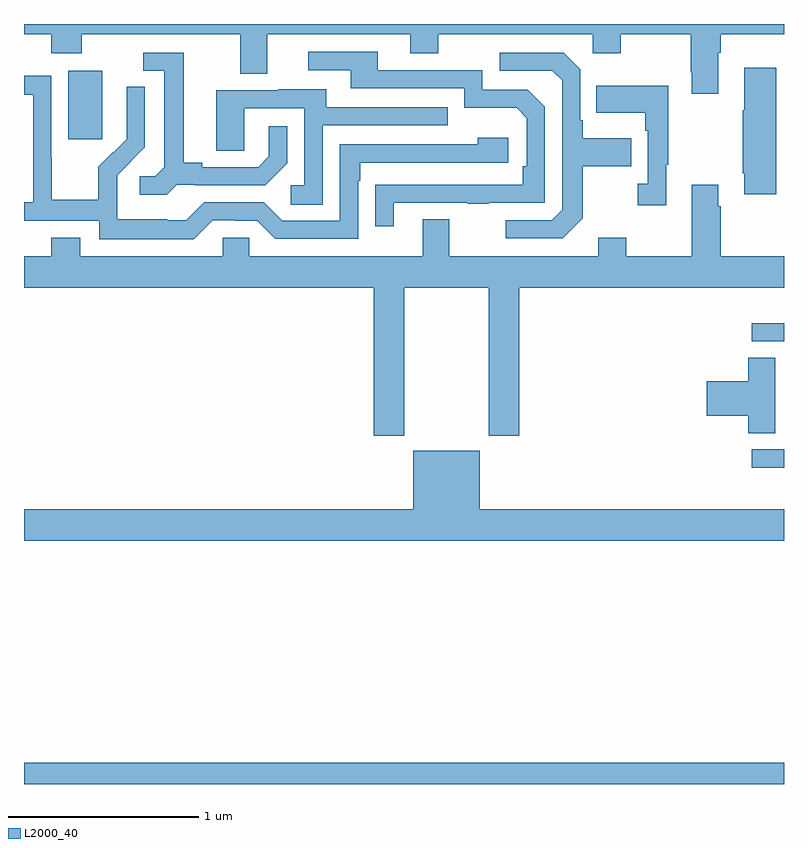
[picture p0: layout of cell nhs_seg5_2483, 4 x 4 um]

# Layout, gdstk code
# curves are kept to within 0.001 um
import gdstk
lib = gdstk.Library(unit=1e-6, precision=1e-09)
def R(c, l, rs):  # rectangles x0, y0, x1, y1
    for r in rs: c.add(gdstk.rectangle(r[:2], r[2:], *l))
def P(c, l, *ps):  # polygons
    for p in ps: c.add(gdstk.Polygon(p, *l))
L2000_40 = (2000, 40)

nhs_seg5_2483 = lib.new_cell('nhs_seg5_2483')
R(nhs_seg5_2483, L2000_40, [(255,868.799,259,868.912), (258.831,870.463,259,870.561), (258.831,871.128,259,871.224), (255.233,872.193,255.412,872.554)])
P(nhs_seg5_2483, L2000_40, [(258.655,872.648),(258.668,872.648),(258.668,872.744),(259,872.744),(259,872.799),(255,872.799),(255,872.744),(255.143,872.744),(255.143,872.645),(255.303,872.645),(255.303,872.744),(256.139,872.744),(256.139,872.536),(256.279,872.536),(256.279,872.744),(257.033,872.744),(257.033,872.645),(257.181,872.645),(257.181,872.744),(257.994,872.744),(257.994,872.645),(258.141,872.645),(258.141,872.744),(258.508,872.744),(258.508,872.545),(258.515,872.545),(258.515,872.433),(258.655,872.433)],
  [(256.945,871.857),(257.335,871.857),(257.335,871.852),(257.447,871.852),(257.447,871.857),(257.742,871.857),(257.742,872.364),(257.652,872.454),(257.412,872.454),(257.412,872.556),(256.861,872.556),(256.861,872.652),(256.497,872.652),(256.497,872.556),(256.721,872.556),(256.721,872.46),(257.316,872.46),(257.316,872.357),(257.593,872.357),(257.646,872.304),(257.646,872.05),(257.626,872.05),(257.626,871.953),(256.849,871.952),(256.849,871.734),(256.945,871.734)],
  [(255.804,871.953),(255.898,871.953),(255.898,871.95),(256.27,871.95),(256.386,872.066),(256.386,872.26),(256.289,872.26),(256.289,872.103),(256.232,872.046),(255.937,872.046),(255.937,872.069),(255.841,872.069),(255.841,872.649),(255.627,872.649),(255.627,872.553),(255.737,872.553),(255.737,872.045),(255.69,871.998),(255.609,871.998),(255.609,871.901),(255.752,871.901)],
  [(257.941,871.777),(257.941,872.05),(258.197,872.05),(258.197,872.197),(257.941,872.197),(257.941,872.293),(257.928,872.293),(257.928,872.562),(257.841,872.649),(257.505,872.649),(257.505,872.553),(257.781,872.553),(257.832,872.502),(257.832,871.821),(257.778,871.767),(257.535,871.767),(257.535,871.671),(257.835,871.671)],
  [(258.959,872.569),(258.791,872.569),(258.791,872.345),(258.784,872.345),(258.784,872.014),(258.791,872.014),(258.791,871.902),(258.959,871.902)],
  [(255.993,871.767),(256.109,871.767),(256.109,871.764),(256.227,871.764),(256.323,871.668),(256.758,871.668),(256.758,871.973),(256.771,871.973),(256.771,872.07),(257.548,872.07),(257.548,872.2),(257.387,872.2),(257.387,872.166),(256.662,872.166),(256.662,871.764),(256.359,871.764),(256.263,871.86),(255.948,871.86),(255.855,871.767),(255.755,871.767),(255.755,871.771),(255.492,871.771),(255.492,871.905),(255.49,871.905),(255.49,872.002),(255.636,872.15),(255.636,872.468),(255.54,872.468),(255.54,872.314),(255.542,872.314),(255.542,872.192),(255.471,872.121),(255.468,872.124),(255.391,872.047),(255.391,871.873),(255.147,871.873),(255.147,872.096),(255.144,872.096),(255.144,872.526),(255,872.526),(255,872.427),(255.048,872.427),(255.048,871.86),(255,871.86),(255,871.764),(255.396,871.764),(255.396,871.667),(255.893,871.667)],
  [(258.379,872.057),(258.391,872.057),(258.391,872.473),(258.013,872.473),(258.013,872.333),(258.27,872.333),(258.27,872.237),(258.282,872.237),(258.282,871.958),(258.231,871.958),(258.231,871.845),(258.379,871.845)],
  [(256.572,872.265),(257.231,872.265),(257.231,872.361),(256.591,872.361),(256.591,872.455),(256.337,872.455),(256.337,872.451),(256.013,872.451),(256.013,872.131),(256.158,872.131),(256.158,872.355),(256.476,872.355),(256.476,871.95),(256.404,871.95),(256.404,871.849),(256.572,871.849)],
  [(259,871.576),(258.668,871.576),(258.668,871.841),(258.655,871.841),(258.655,871.954),(258.515,871.954),(258.515,871.576),(258.171,871.576),(258.171,871.675),(258.023,871.675),(258.023,871.576),(257.239,871.576),(257.239,871.771),(257.099,871.771),(257.099,871.576),(256.185,871.576),(256.185,871.674),(256.047,871.674),(256.047,871.576),(255.295,871.576),(255.295,871.675),(255.143,871.675),(255.143,871.576),(255,871.576),(255,871.412),(256.841,871.412),(256.841,870.633),(257.001,870.633),(257.001,871.412),(257.446,871.412),(257.446,870.633),(257.606,870.633),(257.606,871.412),(259,871.412)],
  [(258.955,871.043),(258.812,871.043),(258.812,870.92),(258.594,870.92),(258.594,870.737),(258.812,870.737),(258.812,870.646),(258.955,870.646)],
  [(259,870.244),(257.398,870.244),(257.398,870.553),(257.048,870.553),(257.048,870.244),(255,870.244),(255,870.08),(259,870.08)])

lib.write_gds('nhs_seg5_2483.gds')
